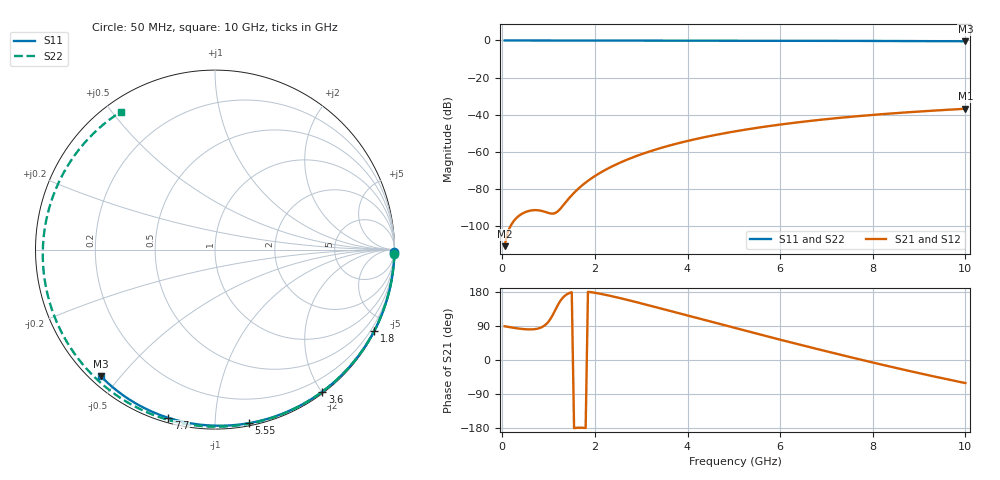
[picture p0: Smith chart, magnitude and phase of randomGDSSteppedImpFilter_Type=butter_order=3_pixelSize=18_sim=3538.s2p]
! freq	dB(S11)	phase(S11)	dB(S12)	phase(S12)
!  dB(S21)	phase(S21)	dB(S22)	phase(S22)
!S-par simulation data
#  GHz  S  DB  R 50
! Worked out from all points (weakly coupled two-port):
!   200 points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, 50 MHz to 10 GHz, reference 50 ohm
!   highest |S21| = -36.71 dB at 10 GHz (marker M1); lowest = -110.6 dB at 50 MHz (marker M2)
!   lowest |S11| = -0.4 dB at 10 GHz (marker M3), VSWR 38.95, Z = 1.54 - j22.3 ohm
!   |S11| at or under -10 dB: nowhere
!   |S22| runs from -0.6 to 0.0 dB; largest |S21 - S12| = 0
!   S11 on the Smith chart (normalised r, x): 50 MHz: open; 1.8 GHz: 0.04, -4.16; 3.6 GHz: 0.02, -2.01; 5.55 GHz: 0.02, -1.21; 7.7 GHz: 0.02, -0.76; 10 GHz: 0.03, -0.45
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0.05  -0.00 -0.8  -110.59 89.1  -110.59 89.1  -0.00 -1.4
0.4  -0.01 -6.1  -93.56 82.3  -93.56 82.3  -0.02 -11.4
0.8  -0.02 -12.1  -91.38 84.0  -91.38 84.0  -0.03 -22.7
1.6  -0.03 -24.1  -80.66 -179.0  -80.66 -179.0  -0.06 -44.7
1.65  -0.03 -24.8  -79.50 -178.7  -79.50 -178.7  -0.06 -46.0
1.75  -0.03 -26.3  -77.37 -178.9  -77.37 -178.9  -0.06 -48.7
1.8  -0.03 -27.1  -76.39 -179.4  -76.39 -179.4  -0.06 -50.0
2.1  -0.04 -31.5  -71.34 175.2  -71.34 175.2  -0.07 -58.0
2.5  -0.05 -37.3  -66.18 164.6  -66.18 164.6  -0.09 -68.3
2.9  -0.06 -43.0  -62.09 152.5  -62.09 152.5  -0.10 -78.3
3.4  -0.07 -50.1  -57.98 136.7  -57.98 136.7  -0.12 -90.4
3.6  -0.07 -52.9  -56.56 130.3  -56.56 130.3  -0.12 -95.1
4.3  -0.09 -62.5  -52.34 107.6  -52.34 107.6  -0.15 -111.1
5.05  -0.11 -72.5  -48.77 83.5  -48.77 83.5  -0.19 -127.6
5.55  -0.13 -79.0  -46.79 67.7  -46.79 67.7  -0.21 -138.3
6.15  -0.15 -86.6  -44.73 48.9  -44.73 48.9  -0.25 -150.9
6.7  -0.18 -93.4  -43.10 32.0  -43.10 32.0  -0.29 -162.3
7.2  -0.21 -99.5  -41.80 16.9  -41.80 16.9  -0.33 -172.8
7.7  -0.24 -105.5  -40.65 2.1  -40.65 2.1  -0.38 176.7
8.35  -0.29 -113.1  -39.34 -16.7  -39.34 -16.7  -0.44 162.6
9.15  -0.36 -122.3  -37.97 -38.8  -37.97 -38.8  -0.53 144.6
10  -0.45 -132.0  -36.71 -60.9  -36.71 -60.9  -0.63 124.2
